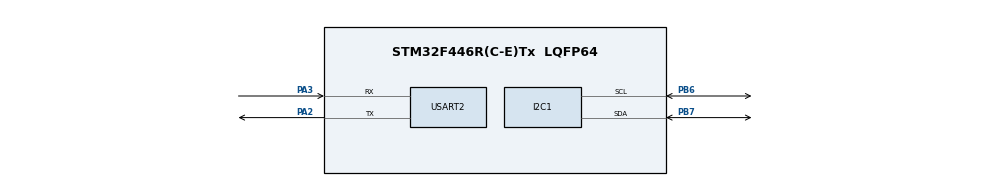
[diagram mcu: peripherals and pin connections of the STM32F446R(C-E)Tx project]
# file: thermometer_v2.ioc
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Mcu.Family=STM32F4
Mcu.Name=STM32F446R(C-E)Tx
Mcu.Package=LQFP64
NVIC.I2C1_ER_IRQn=true\:0\:0\:false\:false\:true\:true\:true\:true
NVIC.I2C1_EV_IRQn=true\:0\:0\:false\:false\:true\:true\:true\:true
NVIC.PriorityGroup=NVIC_PRIORITYGROUP_4
NVIC.USART2_IRQn=true\:0\:0\:false\:false\:true\:true\:true\:true
PA2.Mode=Asynchronous
PA2.Signal=USART2_TX
PA3.Mode=Asynchronous
PA3.Signal=USART2_RX
PB6.Mode=I2C
PB6.Signal=I2C1_SCL
PB7.Mode=I2C
PB7.Signal=I2C1_SDA
ProjectManager.HeapSize=0x200
ProjectManager.StackSize=0x400
ProjectManager.TargetToolchain=STM32CubeIDE
RCC.CortexFreq_Value=16000000
RCC.USBFreq_Value=96000000
RCC.VCOOutputFreq_Value=192000000
USART2.VirtualMode=VM_ASYNC
VP_CRC_VS_CRC.Mode=CRC_Activate
board=custom

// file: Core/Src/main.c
/* USER CODE BEGIN Header */
/**
  ******************************************************************************
  * @file           : main.c
  * @brief          : Main program body
  ******************************************************************************
  * @attention
  *
  * Copyright (c) 2022 STMicroelectronics.
  * All rights reserved.
  *
  * This software is licensed under terms that can be found in the LICENSE file
  * in the root directory of this software component.
  * If no LICENSE file comes with this software, it is provided AS-IS.
  *
  ******************************************************************************
  */
/* USER CODE END Header */
#include "main.h"

/* USER CODE BEGIN Includes */
#include <stdio.h>
#include <math.h>
/* USER CODE END Includes */

/* USER CODE BEGIN PD */
#define mlx90614xCx
#define MLX90614_addr 0x5A
#define mlx_cmd_pointer 1
#define mlx_cmd_amb 0x06
#define mlx_cmd_obj_1 0x07
#define mlx_cmd_obj_2 0x08
#define mlx_cmd_emissivity 0x24
#define mlx_cmd_emissivity_2 0x2F
/* USER CODE END PD */

CRC_HandleTypeDef hcrc;

I2C_HandleTypeDef hi2c1;

UART_HandleTypeDef huart2;

/* USER CODE BEGIN PV */
uint8_t mlx_read_buffer[6]={0xB4,0x00,0xB5,0};
uint8_t mlx_write_buffer[5]={0xB4,0};
uint8_t mlx_write_zero[5]={0xB4,0};
char uart_buf[30];
/* USER CODE END PV */

void SystemClock_Config(void);
static void MX_GPIO_Init(void);
static void MX_I2C1_Init(void);
static void MX_CRC_Init(void);
static void MX_USART2_UART_Init(void);
/* USER CODE BEGIN PFP */
/*int _write(int file, char *ptr, int len)
{
	int DataIdx;

	for (DataIdx = 0; DataIdx < len; DataIdx++)
	{
		HAL_UART_Transmit(&huart1, ptr++, 1, 100);
	}
	return len;
}*/
/* USER CODE END PFP */

/* USER CODE BEGIN 0 */

void mlx_read_temperature(void)
{
	double temp_obj_1, temp_obj_2, temp_amb;
	uint8_t crc_obj_1,crc_obj_2,crc_amb;

	/*
	Ambient temperature
	*/
	mlx_read_buffer[mlx_cmd_pointer]=mlx_cmd_amb;
	HAL_I2C_Mem_Read_IT(&hi2c1,(uint16_t)MLX90614_addr<<1,mlx_cmd_amb,I2C_MEMADD_SIZE_8BIT,
			(uint8_t *)&mlx_read_buffer[3],3);

	while(HAL_I2C_GetState(&hi2c1)!=HAL_I2C_STATE_READY)
	{
	}

	temp_amb=(mlx_read_buffer[4]<<8|mlx_read_buffer[3])+3;
	temp_amb=(temp_amb*0.02)-273.15;
	crc_amb=HAL_CRC_Calculate(&hcrc,(uint32_t *)mlx_read_buffer,5);

	if(crc_amb==mlx_read_buffer[5])
	{
		memset(uart_buf,0,30);
		sprintf(uart_buf, "ambient: %.2lf\n\r", temp_amb);
		HAL_UART_Transmit_IT(&huart2, uart_buf, sizeof(uart_buf));

	}

	mlx_read_buffer[mlx_cmd_pointer]=mlx_cmd_obj_1;
	HAL_I2C_Mem_Read_IT(&hi2c1,(uint16_t)MLX90614_addr<<1,mlx_cmd_obj_1,I2C_MEMADD_SIZE_8BIT,
    	(uint8_t *)&mlx_read_buffer[3],3);
	while(HAL_I2C_GetState(&hi2c1)!=HAL_I2C_STATE_READY)
	{
	}
	temp_obj_1=(mlx_read_buffer[4]<<8|mlx_read_buffer[3]);
	temp_obj_1=(temp_obj_1*0.02)-273.15;
	crc_obj_1=HAL_CRC_Calculate(&hcrc,(uint32_t *)mlx_read_buffer,5);

//	if(crc_obj_1==mlx_read_buffer[5])
//	{
		memset(uart_buf,0,30);
		sprintf(uart_buf, "obj1: %.2lf\n\r", temp_obj_1);
		HAL_UART_Transmit_IT(&huart2, uart_buf, sizeof(uart_buf));
//	}

	/*
	Object 2 temperature, RAM-0x07
	*/
	mlx_read_buffer[mlx_cmd_pointer]=mlx_cmd_obj_2;
	HAL_I2C_Mem_Read_IT(&hi2c1,(uint16_t)MLX90614_addr<<1,mlx_cmd_obj_2,I2C_MEMADD_SIZE_8BIT,
    	(uint8_t *)&mlx_read_buffer[3],3);
	while(HAL_I2C_GetState(&hi2c1)!=HAL_I2C_STATE_READY)
	{
	}
	temp_obj_2=(mlx_read_buffer[4]<<8|mlx_read_buffer[3]);
	temp_obj_2=(temp_obj_2*0.02)-273.15;
	crc_obj_2=HAL_CRC_Calculate(&hcrc,(uint32_t *)mlx_read_buffer,5);

//	if(crc_obj_2==mlx_read_buffer[5])
//	{
		memset(uart_buf,0,30);
		sprintf(uart_buf, "obj2: %.2lf\n\r", temp_obj_2);
		HAL_UART_Transmit_IT(&huart2, uart_buf, sizeof(uart_buf));
//	}

}

void mlx_change_emissivity(float new_emissivity)
{
	uint8_t crc_emissivity, crc_emissivity_2;
	uint16_t new_04, new_0f;
	double old_04,old_0f;

//	printf("New E : %.2lf\r\n",new_emissivity);
	new_04=round(65536*(new_emissivity)-1.0);

#ifdef mlx90614xCx
	mlx_read_buffer[mlx_cmd_pointer]=mlx_cmd_emissivity;
	HAL_I2C_Mem_Read_IT(&hi2c1,(uint16_t)MLX90614_addr<<1,mlx_cmd_emissivity,I2C_MEMADD_SIZE_8BIT,
    	(uint8_t *)&mlx_read_buffer[3],3);
	while(HAL_I2C_GetState(&hi2c1)!=HAL_I2C_STATE_READY)
	{
	}
	crc_emissivity=HAL_CRC_Calculate(&hcrc,(uint32_t *)mlx_read_buffer,5);
	old_04=((mlx_read_buffer[4]<<8)|mlx_read_buffer[3]);
	if(mlx_read_buffer[5]==crc_emissivity)
	{
//		printf("Old 0x04 : %d, %X\r\n",(int)old_04,(int)old_04);
	}

	mlx_read_buffer[mlx_cmd_pointer]=mlx_cmd_emissivity_2;
	HAL_I2C_Mem_Read_IT(&hi2c1,(uint16_t)MLX90614_addr<<1,mlx_cmd_emissivity_2,I2C_MEMADD_SIZE_8BIT,
    	(uint8_t *)&mlx_read_buffer[3],3);
	while(HAL_I2C_GetState(&hi2c1)!=HAL_I2C_STATE_READY)
	{
	}
	crc_emissivity_2=HAL_CRC_Calculate(&hcrc,(uint32_t *)mlx_read_buffer,5);
	old_0f=((mlx_read_buffer[4]<<8)|mlx_read_buffer[3]);
	if(mlx_read_buffer[5]==crc_emissivity_2)
	{
//		printf("Old 0x0F : %d, %X\r\n",(int)old_0f,(int)old_0f);

	}

	new_0f=round((old_04/new_04)*old_0f);
//    printf("New 0x0F : %d, %X\r\n",new_0f,new_0f);

#endif

	mlx_write_zero[1]=mlx_cmd_emissivity;
	mlx_write_zero[4]=HAL_CRC_Calculate(&hcrc,(uint32_t *)mlx_write_zero,4);

	mlx_write_buffer[1]=mlx_cmd_emissivity;
	mlx_write_buffer[2]=new_04&0xff;
	mlx_write_buffer[3]=(new_04>>8)&0xff;
	mlx_write_buffer[4]=HAL_CRC_Calculate(&hcrc,(uint32_t *)mlx_write_buffer,4);

//	printf("New_04 : %d, %X, %X, %X	crc : %X\r\n",new_04,new_04,mlx_write_buffer[2],mlx_write_buffer[3],mlx_write_buffer[4]);

	HAL_I2C_Master_Transmit_IT(&hi2c1,MLX90614_addr<<1,(uint8_t *)&mlx_write_zero[1],4);
	while(HAL_I2C_GetState(&hi2c1)!=HAL_I2C_STATE_READY)
	{

	}
	HAL_Delay(10);
	HAL_I2C_Master_Transmit_IT(&hi2c1,MLX90614_addr<<1,(uint8_t *)&mlx_write_buffer[1],4);
	while(HAL_I2C_GetState(&hi2c1)!=HAL_I2C_STATE_READY)
	{
	}
	HAL_Delay(10);

#ifdef mlx90614xCx
	mlx_write_zero[1]=mlx_cmd_emissivity_2;
	mlx_write_zero[4]=HAL_CRC_Calculate(&hcrc,(uint32_t *)mlx_write_zero,4);
	mlx_write_buffer[1]=mlx_cmd_emissivity_2;
	mlx_write_buffer[2]=new_0f&0xff;
	mlx_write_buffer[3]=(new_0f>>8)&0xff;
	mlx_write_buffer[4]=HAL_CRC_Calculate(&hcrc,(uint32_t *)mlx_write_buffer,4);

	HAL_I2C_Master_Transmit_IT(&hi2c1,MLX90614_addr<<1,(uint8_t *)&mlx_write_zero[1],4);
	while(HAL_I2C_GetState(&hi2c1)!=HAL_I2C_STATE_READY)
	{
	}
	HAL_Delay(10);

	HAL_I2C_Master_Transmit_IT(&hi2c1,MLX90614_addr<<1,(uint8_t *)&mlx_write_buffer[1],4);
	while(HAL_I2C_GetState(&hi2c1)!=HAL_I2C_STATE_READY)
	{
	}
	HAL_Delay(10);
#endif

	mlx_read_buffer[mlx_cmd_pointer]=mlx_cmd_emissivity;
	HAL_I2C_Mem_Read_IT(&hi2c1,(uint16_t)MLX90614_addr<<1,mlx_cmd_emissivity,I2C_MEMADD_SIZE_8BIT,
    	(uint8_t *)&mlx_read_buffer[3],3);
	while(HAL_I2C_GetState(&hi2c1)!=HAL_I2C_STATE_READY)
	{
	}
	crc_emissivity=HAL_CRC_Calculate(&hcrc,(uint32_t *)mlx_read_buffer,5);
	if((mlx_read_buffer[3]==(new_04&0xff))&&(mlx_read_buffer[4]==((new_04>>8)&0xff)))
	{
//		printf("0x04 : Successfully Changed\r\n");
	}

#ifdef mlx90614xCx
	mlx_read_buffer[mlx_cmd_pointer]=mlx_cmd_emissivity_2;
	HAL_I2C_Mem_Read_IT(&hi2c1,(uint16_t)MLX90614_addr<<1,mlx_cmd_emissivity_2,I2C_MEMADD_SIZE_8BIT,
    	(uint8_t *)&mlx_read_buffer[3],3);
	while(HAL_I2C_GetState(&hi2c1)!=HAL_I2C_STATE_READY)
	{
	}
	crc_emissivity=HAL_CRC_Calculate(&hcrc,(uint32_t *)mlx_read_buffer,5);
	if((mlx_read_buffer[3]==(new_0f&0xff))&&(mlx_read_buffer[4]==((new_0f>>8)&0xff)))
	{
//		printf("0x0F : Successfully Changed\r\n");

	}

#endif
}
void mlx_read_emissivity()
{
	uint8_t crc_emissivity;
	uint16_t read_emissivity;
	float cur_emissivity;

	mlx_read_buffer[mlx_cmd_pointer]=mlx_cmd_emissivity;
	HAL_I2C_Mem_Read_IT(&hi2c1,(uint16_t)MLX90614_addr<<1,mlx_cmd_emissivity,I2C_MEMADD_SIZE_8BIT,
    	(uint8_t *)&mlx_read_buffer[3],3);
	while(HAL_I2C_GetState(&hi2c1)!=HAL_I2C_STATE_READY)
	{
	}
	crc_emissivity=HAL_CRC_Calculate(&hcrc,(uint32_t *)mlx_read_buffer,5);

	if(crc_emissivity==mlx_read_buffer[5])
	{
		read_emissivity=(mlx_read_buffer[4]<<8|mlx_read_buffer[3]);
		cur_emissivity=(read_emissivity+1)/65536.0;

//		printf("Current Emissivity : %.2f\r\n",cur_emissivity);
	}
	else
	{

	}
}
void mlx_sleep()
{
	uint8_t enter_sleep[2]={0xFF,0xE8};
	HAL_I2C_Master_Transmit_IT(&hi2c1,(uint16_t)MLX90614_addr<<1,(uint8_t *)&enter_sleep,2);
	while(HAL_I2C_GetState(&hi2c1)!=HAL_I2C_STATE_READY)
	{
	}
}

void mlx_wakeup()
{

	HAL_I2C_DeInit(&hi2c1);

	GPIO_InitTypeDef GPIO_InitStruct = {0};
	HAL_GPIO_WritePin(GPIOB, GPIO_PIN_7, GPIO_PIN_RESET);
	GPIO_InitStruct.Pin = GPIO_PIN_7;
	GPIO_InitStruct.Mode = GPIO_MODE_OUTPUT_PP;
	GPIO_InitStruct.Pull = GPIO_NOPULL;
	HAL_GPIO_Init(GPIOB, &GPIO_InitStruct);
	HAL_Delay(33);
	HAL_GPIO_DeInit(GPIOB,GPIO_PIN_7);

	HAL_I2C_Init(&hi2c1);
	HAL_Delay(250);
}
/* USER CODE END 0 */

int main(void)
{

  /* MCU Configuration--------------------------------------------------------*/

  /* Reset of all peripherals, Initializes the Flash interface and the Systick. */
  HAL_Init();

  /* Configure the system clock */
  SystemClock_Config();

  /* Initialize all configured peripherals */
  MX_GPIO_Init();
  MX_I2C1_Init();
  MX_CRC_Init();
  MX_USART2_UART_Init();
  /* USER CODE BEGIN 2 */
  HAL_Delay(1000);
  uint8_t str[] = "MLX90614\n\r";
  HAL_UART_Transmit_IT(&huart2, str, sizeof(str));
  HAL_Delay(100);

  mlx_read_emissivity();
  mlx_change_emissivity(1.0);

  mlx_read_emissivity();
  mlx_change_emissivity(0.9);

  mlx_read_emissivity();
  mlx_sleep();

  mlx_wakeup();

  mlx_read_emissivity();
  memset(uart_buf,0,30);
  sprintf(uart_buf, "temperature : ---\n\r");
  HAL_UART_Transmit_IT(&huart2, uart_buf, sizeof(uart_buf));
  /* USER CODE END 2 */

  /* Infinite loop */
  /* USER CODE BEGIN WHILE */
  while (1)
  {
	  mlx_read_temperature();
	  HAL_Delay(1000);
    /* USER CODE END WHILE */

  }
}

void SystemClock_Config(void)
{
  RCC_OscInitTypeDef RCC_OscInitStruct = {0};
  RCC_ClkInitTypeDef RCC_ClkInitStruct = {0};

  /** Configure the main internal regulator output voltage
  */
  __HAL_RCC_PWR_CLK_ENABLE();
  __HAL_PWR_VOLTAGESCALING_CONFIG(PWR_REGULATOR_VOLTAGE_SCALE3);

  /** Initializes the RCC Oscillators according to the specified parameters
  * in the RCC_OscInitTypeDef structure.
  */
  RCC_OscInitStruct.OscillatorType = RCC_OSCILLATORTYPE_HSI;
  RCC_OscInitStruct.HSIState = RCC_HSI_ON;
  RCC_OscInitStruct.HSICalibrationValue = RCC_HSICALIBRATION_DEFAULT;
  RCC_OscInitStruct.PLL.PLLState = RCC_PLL_NONE;
  if (HAL_RCC_OscConfig(&RCC_OscInitStruct) != HAL_OK)
  {
    Error_Handler();
  }

  /** Initializes the CPU, AHB and APB buses clocks
  */
  RCC_ClkInitStruct.ClockType = RCC_CLOCKTYPE_HCLK|RCC_CLOCKTYPE_SYSCLK
                              |RCC_CLOCKTYPE_PCLK1|RCC_CLOCKTYPE_PCLK2;
  RCC_ClkInitStruct.SYSCLKSource = RCC_SYSCLKSOURCE_HSI;
  RCC_ClkInitStruct.AHBCLKDivider = RCC_SYSCLK_DIV1;
  RCC_ClkInitStruct.APB1CLKDivider = RCC_HCLK_DIV1;
  RCC_ClkInitStruct.APB2CLKDivider = RCC_HCLK_DIV1;

  if (HAL_RCC_ClockConfig(&RCC_ClkInitStruct, FLASH_LATENCY_0) != HAL_OK)
  {
    Error_Handler();
  }
}

static void MX_CRC_Init(void)
{

  hcrc.Instance = CRC;
  if (HAL_CRC_Init(&hcrc) != HAL_OK)
  {
    Error_Handler();
  }

}

static void MX_I2C1_Init(void)
{

  hi2c1.Instance = I2C1;
  hi2c1.Init.ClockSpeed = 100000;
  hi2c1.Init.DutyCycle = I2C_DUTYCYCLE_2;
  hi2c1.Init.OwnAddress1 = 0;
  hi2c1.Init.AddressingMode = I2C_ADDRESSINGMODE_7BIT;
  hi2c1.Init.DualAddressMode = I2C_DUALADDRESS_DISABLE;
  hi2c1.Init.OwnAddress2 = 0;
  hi2c1.Init.GeneralCallMode = I2C_GENERALCALL_DISABLE;
  hi2c1.Init.NoStretchMode = I2C_NOSTRETCH_DISABLE;
  if (HAL_I2C_Init(&hi2c1) != HAL_OK)
  {
    Error_Handler();
  }

}

static void MX_USART2_UART_Init(void)
{

  huart2.Instance = USART2;
  huart2.Init.BaudRate = 115200;
  huart2.Init.WordLength = UART_WORDLENGTH_8B;
  huart2.Init.StopBits = UART_STOPBITS_1;
  huart2.Init.Parity = UART_PARITY_NONE;
  huart2.Init.Mode = UART_MODE_TX_RX;
  huart2.Init.HwFlowCtl = UART_HWCONTROL_NONE;
  huart2.Init.OverSampling = UART_OVERSAMPLING_16;
  if (HAL_UART_Init(&huart2) != HAL_OK)
  {
    Error_Handler();
  }

}

static void MX_GPIO_Init(void)
{

  /* GPIO Ports Clock Enable */
  __HAL_RCC_GPIOA_CLK_ENABLE();
  __HAL_RCC_GPIOB_CLK_ENABLE();

}

void Error_Handler(void)
{
  __disable_irq();
  while (1)
  {
  }
}
